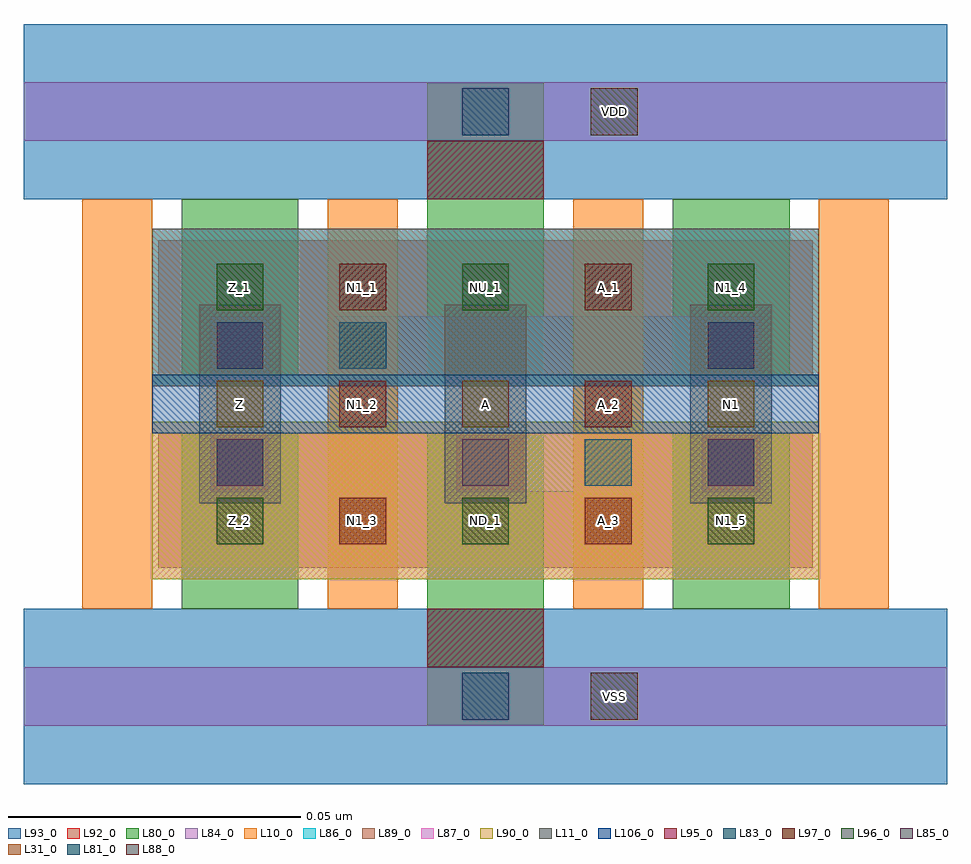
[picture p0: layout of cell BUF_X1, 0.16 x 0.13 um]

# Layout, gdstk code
import gdstk
lib = gdstk.Library(unit=1e-6, precision=1e-09)
def R(c, l, rs):  # rectangles x0, y0, x1, y1
    for r in rs: c.add(gdstk.rectangle(r[:2], r[2:], *l))
def A(c, l, x, y, w, h, nx, ny, dx, dy):  # array of equal rectangles
    R(c, l, [(x+i*dx, y+j*dy, x+i*dx+w, y+j*dy+h) for i in range(nx) for j in range(ny)])
L10_0 = (10, 0)
L11_0 = (11, 0)
L31_0 = (31, 0)
L80_0 = (80, 0)
L81_0 = (81, 0)
L83_0 = (83, 0)
L84_0 = (84, 0)
L85_0 = (85, 0)
L86_0 = (86, 0)
L87_0 = (87, 0)
L88_0 = (88, 0)
L89_0 = (89, 0)
L90_0 = (90, 0)
L92_0 = (92, 0)
L93_0 = (93, 0)
L95_0 = (95, 0)
L96_0 = (96, 0)
L97_0 = (97, 0)
L106_0 = (106, 0)

buf_x1 = lib.new_cell('BUF_X1')
A(buf_x1, L10_0, -0.027, 0.015, 0.012, 0.07, 4, 1, 0.042, 0)
A(buf_x1, L11_0, -0.007, 0.033, 0.014, 0.034, 3, 1, 0.042, 0)
A(buf_x1, L31_0, -0.004, 0.046, 0.008, 0.008, 3, 1, 0.042, 0)
A(buf_x1, L80_0, -0.01, 0.015, 0.02, 0.03, 3, 2, 0.042, 0.04)
R(buf_x1, L80_0, [(0.032,-0.005,0.052,0.025), (0.032,0.075,0.052,0.105)])
R(buf_x1, L81_0, [(0.059,0.036,0.067,0.044), (0.017,0.056,0.025,0.064)])
R(buf_x1, L83_0, [(0.038,-0.004,0.046,0.004), (-0.004,0.036,0.004,0.044), (0.08,0.036,0.088,0.044), (-0.004,0.056,0.004,0.064), (0.08,0.056,0.088,0.064), (0.038,0.096,0.046,0.104)])
A(buf_x1, L84_0, 0.016, 0.055, 0.031, 0.01, 3, 1, 0.021, 0)
R(buf_x1, L84_0, [(-0.037,-0.005,0.121,0.005), (-0.005,0.035,0.005,0.045), (0.037,0.035,0.069,0.045), (0.079,0.035,0.089,0.045), (-0.005,0.055,0.005,0.065), (-0.037,0.095,0.121,0.105)])
A(buf_x1, L85_0, -0.004, 0.036, 0.008, 0.008, 3, 1, 0.042, 0)
R(buf_x1, L85_0, [(-0.004,0.056,0.004,0.064), (0.08,0.056,0.088,0.064)])
R(buf_x1, L86_0, [(-0.015,0.053,0.099,0.08)])
R(buf_x1, L87_0, [(-0.015,0.02,0.099,0.047)])
R(buf_x1, L88_0, [(0.06,-0.004,0.068,0.004), (0.06,0.096,0.068,0.104)])
R(buf_x1, L89_0, [(-0.015,0.053,0.099,0.08)])
R(buf_x1, L90_0, [(-0.015,0.02,0.099,0.047)])
R(buf_x1, L92_0, [(-0.014,0.022,0.098,0.045), (-0.014,0.055,0.098,0.078)])
R(buf_x1, L93_0, [(-0.037,-0.015,0.121,0.015), (-0.037,0.085,0.121,0.115)])
R(buf_x1, L95_0, [(0.032,0.005,0.052,0.015), (0.032,0.085,0.052,0.095)])
A(buf_x1, L96_0, -0.004, 0.026, 0.008, 0.008, 3, 2, 0.042, 0.04)
A(buf_x1, L97_0, 0.017, 0.026, 0.008, 0.008, 1, 3, 0, 0.02)
A(buf_x1, L97_0, 0.059, 0.026, 0.008, 0.008, 1, 3, 0, 0.02)
R(buf_x1, L106_0, [(-0.015,0.045,0.099,0.055)])
buf_x1.add(gdstk.Label('N1_2', (0.021,0.05), layer=97, texttype=0))
buf_x1.add(gdstk.Label('N1_3', (0.021,0.03), layer=97, texttype=0))
buf_x1.add(gdstk.Label('A_2', (0.063,0.05), layer=97, texttype=0))
buf_x1.add(gdstk.Label('A_3', (0.063,0.03), layer=97, texttype=0))
buf_x1.add(gdstk.Label('A_1', (0.063,0.07), layer=97, texttype=0))
buf_x1.add(gdstk.Label('N1_1', (0.021,0.07), layer=97, texttype=0))
buf_x1.add(gdstk.Label('Z_2', (0,0.03), layer=96, texttype=0))
buf_x1.add(gdstk.Label('ND_1', (0.042,0.03), layer=96, texttype=0))
buf_x1.add(gdstk.Label('N1_5', (0.084,0.03), layer=96, texttype=0))
buf_x1.add(gdstk.Label('N1_4', (0.084,0.07), layer=96, texttype=0))
buf_x1.add(gdstk.Label('NU_1', (0.042,0.07), layer=96, texttype=0))
buf_x1.add(gdstk.Label('Z_1', (0,0.07), layer=96, texttype=0))
buf_x1.add(gdstk.Label('A', (0.042,0.05), layer=31, texttype=0))
buf_x1.add(gdstk.Label('Z', (0,0.05), layer=31, texttype=0))
buf_x1.add(gdstk.Label('N1', (0.084,0.05), layer=31, texttype=0))
buf_x1.add(gdstk.Label('VSS', (0.064,0), layer=88, texttype=0))
buf_x1.add(gdstk.Label('VDD', (0.064,0.1), layer=88, texttype=0))

lib.write_gds('BUF_X1.gds')
